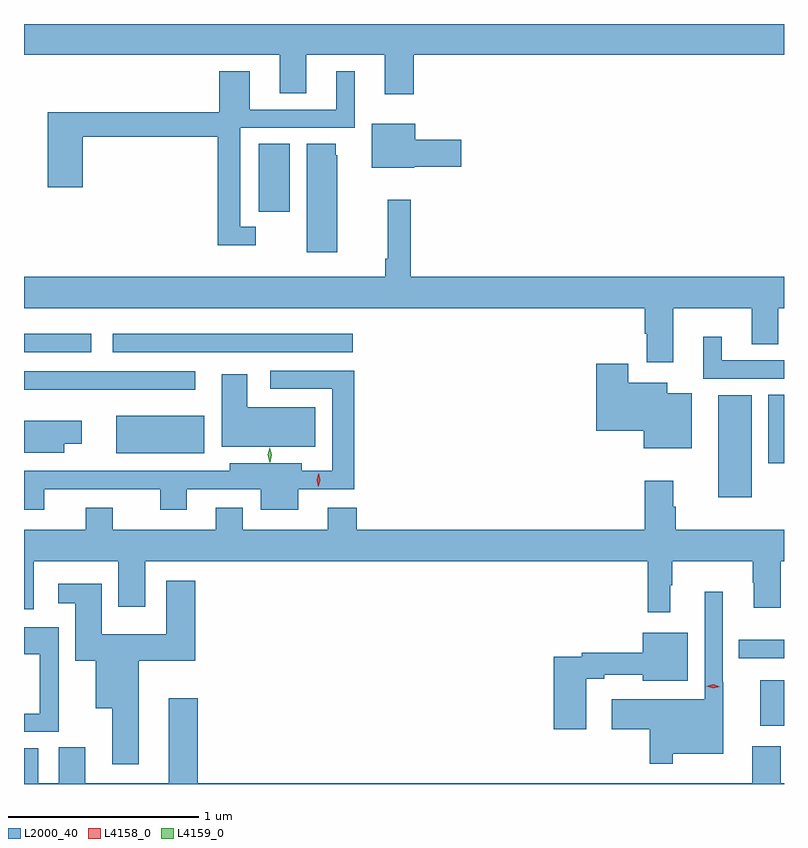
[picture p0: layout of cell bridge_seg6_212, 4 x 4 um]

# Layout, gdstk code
import gdstk
lib = gdstk.Library(unit=1e-6, precision=1e-09)
def R(c, l, rs):  # rectangles x0, y0, x1, y1
    for r in rs: c.add(gdstk.rectangle(r[:2], r[2:], *l))
def P(c, l, *ps):  # polygons
    for p in ps: c.add(gdstk.Polygon(p, *l))
L2000_40 = (2000, 40)
L4158_0 = (4158, 0)
L4159_0 = (4159, 0)

bridge_seg6_212 = lib.new_cell('bridge_seg6_212')
R(bridge_seg6_212, L2000_40, [(233.462,973.109,233.587,973.348), (233.35,973.464,233.587,973.561), (233.24,974.312,233.416,974.848), (233.504,974.49,233.587,974.852), (230.072,974.543,230.536,974.74), (229.587,974.879,230.488,974.976), (229.587,975.075,229.942,975.172), (230.055,975.075,231.316,975.172), (230.822,975.816,230.986,976.172)])
P(bridge_seg6_212, L2000_40, [(233.587,976.803),(229.587,976.803),(229.587,976.64),(230.933,976.64),(230.933,976.438),(231.073,976.438),(231.073,976.64),(231.485,976.64),(231.485,976.434),(231.638,976.434),(231.638,976.64),(233.587,976.64)],
  [(230.806,975.735),(230.724,975.735),(230.724,976.257),(231.328,976.257),(231.328,976.555),(231.23,976.555),(231.23,976.353),(230.776,976.353),(230.776,976.555),(230.615,976.555),(230.615,976.339),(229.712,976.339),(229.712,975.945),(229.895,975.945),(229.895,976.21),(230.608,976.21),(230.608,975.638),(230.806,975.638)],
  [(231.642,976.052),(231.889,976.052),(231.889,976.194),(231.646,976.194),(231.646,976.279),(231.416,976.279),(231.416,976.046),(231.642,976.046)],
  [(231.235,976.113),(231.229,976.113),(231.229,976.172),(231.074,976.172),(231.074,975.603),(231.235,975.603)],
  [(233.005,975.308),(233.417,975.308),(233.417,975.118),(233.557,975.118),(233.557,975.308),(233.587,975.308),(233.587,975.472),(231.623,975.472),(231.623,975.877),(231.502,975.877),(231.502,975.568),(231.487,975.568),(231.487,975.472),(229.587,975.472),(229.587,975.308),(232.853,975.308),(232.853,975.174),(232.865,975.174),(232.865,975.024),(233.005,975.024)],
  [(233.587,975.033),(233.26,975.033),(233.26,975.157),(233.162,975.157),(233.162,974.937),(233.587,974.937)],
  [(233.101,974.86),(232.972,974.86),(232.972,974.914),(232.768,974.914),(232.768,975.016),(232.598,975.016),(232.598,974.663),(232.85,974.663),(232.85,974.57),(233.101,974.57)],
  [(229.693,974.355),(230.303,974.355),(230.303,974.246),(230.443,974.246),(230.443,974.355),(230.834,974.355),(230.834,974.246),(231.031,974.246),(231.031,974.355),(231.326,974.355),(231.326,974.979),(230.883,974.979),(230.883,974.883),(231.21,974.883),(231.21,974.451),(231.049,974.451),(231.049,974.491),(230.669,974.491),(230.669,974.451),(229.587,974.451),(229.587,974.246),(229.693,974.246)],
  [(231.121,974.785),(230.761,974.785),(230.761,974.959),(230.627,974.959),(230.627,974.579),(231.121,974.579)],
  [(229.798,974.594),(229.891,974.594),(229.891,974.716),(229.587,974.716),(229.587,974.546),(229.798,974.546)],
  [(232.988,973.85),(232.999,973.85),(232.999,973.976),(233.422,973.976),(233.422,973.862),(233.429,973.862),(233.429,973.731),(233.569,973.731),(233.569,973.976),(233.587,973.976),(233.587,974.14),(233.018,974.14),(233.018,974.261),(233.005,974.261),(233.005,974.398),(232.853,974.398),(232.853,974.14),(231.338,974.14),(231.338,974.257),(231.185,974.257),(231.185,974.14),(230.737,974.14),(230.737,974.257),(230.597,974.257),(230.597,974.14),(230.053,974.14),(230.053,974.257),(229.913,974.257),(229.913,974.14),(229.587,974.14),(229.587,973.722),(229.639,973.722),(229.639,973.976),(230.084,973.976),(230.084,973.737),(230.224,973.737),(230.224,973.976),(232.87,973.976),(232.87,973.707),(232.988,973.707)],
  [(230.191,973.451),(230.489,973.451),(230.489,973.873),(230.336,973.873),(230.336,973.591),(229.996,973.591),(229.996,973.858),(229.767,973.858),(229.767,973.754),(229.856,973.754),(229.856,973.451),(229.964,973.451),(229.964,973.202),(230.051,973.202),(230.051,972.906),(230.191,972.906)],
  [(233.002,972.962),(233.267,972.962),(233.267,973.339),(233.265,973.339),(233.265,973.816),(233.169,973.816),(233.169,973.249),(232.68,973.249),(232.68,973.091),(232.881,973.091),(232.881,972.909),(233.002,972.909)],
  [(229.769,973.627),(229.587,973.627),(229.587,973.487),(229.671,973.487),(229.671,973.173),(229.587,973.173),(229.587,973.077),(229.769,973.077)],
  [(232.546,973.357),(232.642,973.357),(232.642,973.377),(232.844,973.377),(232.844,973.346),(233.08,973.346),(233.08,973.6),(232.844,973.6),(232.844,973.493),(232.522,973.493),(232.522,973.473),(232.376,973.473),(232.376,973.092),(232.546,973.092)],
  [(233.587,972.808),(233.569,972.808),(233.569,973.003),(233.42,973.003),(233.42,972.808),(230.501,972.808),(230.501,973.255),(230.348,973.255),(230.348,972.808),(229.909,972.808),(229.909,972.996),(229.77,972.996),(229.77,972.808),(229.663,972.808),(229.663,972.992),(229.587,972.992),(229.587,972.803),(233.587,972.803)])
P(bridge_seg6_212, L4158_0, [(233.214,973.307),(233.179,973.318),(233.179,973.318),(233.179,973.318),(233.215,973.327),(233.25,973.315),(233.25,973.315),(233.25,973.315)],
  [(231.135,974.368),(231.135,974.368),(231.127,974.404),(231.138,974.438),(231.138,974.438),(231.139,974.438),(231.147,974.403),(231.135,974.368)])
P(bridge_seg6_212, L4159_0, [(230.881,974.496),(230.871,974.535),(230.881,974.574),(230.881,974.574),(230.881,974.574),(230.891,974.535),(230.882,974.496),(230.882,974.496)])

lib.write_gds('bridge_seg6_212.gds')
